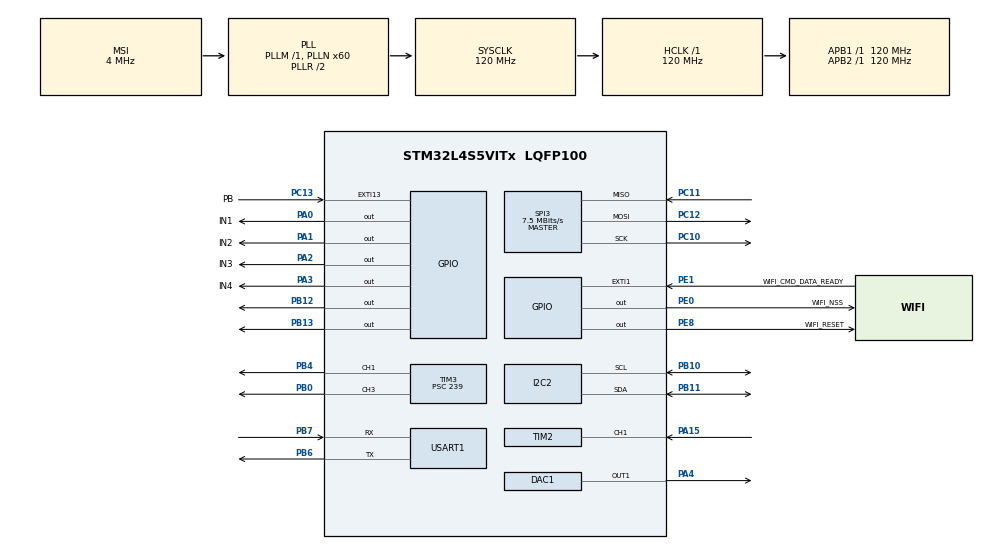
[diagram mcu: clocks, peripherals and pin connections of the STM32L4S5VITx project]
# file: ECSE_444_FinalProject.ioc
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DAC1.DAC_Trigger-DAC_OUT1=DAC_TRIGGER_T4_TRGO
Dma.DAC1_CH1.0.Direction=DMA_MEMORY_TO_PERIPH
Dma.DAC1_CH1.0.EventEnable=DISABLE
Dma.DAC1_CH1.0.Instance=DMA1_Channel1
Dma.DAC1_CH1.0.MemDataAlignment=DMA_MDATAALIGN_HALFWORD
Dma.DAC1_CH1.0.MemInc=DMA_MINC_ENABLE
Dma.DAC1_CH1.0.Mode=DMA_CIRCULAR
Dma.DAC1_CH1.0.PeriphDataAlignment=DMA_PDATAALIGN_HALFWORD
Dma.DAC1_CH1.0.PeriphInc=DMA_PINC_DISABLE
Dma.DAC1_CH1.0.Polarity=HAL_DMAMUX_REQUEST_GEN_RISING
Dma.DAC1_CH1.0.Priority=DMA_PRIORITY_LOW
Dma.DAC1_CH1.0.RequestNumber=1
Dma.DAC1_CH1.0.SignalID=NONE
Dma.DAC1_CH1.0.SyncEnable=DISABLE
Dma.DAC1_CH1.0.SyncPolarity=HAL_DMAMUX_SYNC_NO_EVENT
Dma.DAC1_CH1.0.SyncRequestNumber=1
Dma.DAC1_CH1.0.SyncSignalID=NONE
Dma.Request0=DAC1_CH1
FREERTOS.BinarySemaphores01=alarmSemaphore,Dynamic,NULL,Available
FREERTOS.Mutexes01=logFlashMutex,Dynamic,NULL,Available
FREERTOS.Queues01=tempQueue,16,uint16_t,0,Dynamic,NULL,NULL;scanDataQueue,16,ScanPoint,0,Dynamic,NULL,NULL
FREERTOS.Tasks01=defaultTask,-2,128,StartDefaultTask,Default,NULL,Dynamic,NULL,NULL;tempTask,0,128,StartTempTask,Default,NULL,Dynamic,NULL,NULL;scanTask,0,128,StartScanTask,Default,NULL,Dynamic,NULL,NULL;transmitTask,0,128,StartTransmitTask,Default,NULL,Dynamic,NULL,NULL;alarmTask,0,128,StartAlarmTask,Default,NULL,Dynamic,NULL,NULL
FREERTOS.configENABLE_FPU=1
FREERTOS.configTOTAL_HEAP_SIZE=4352
FREERTOS.configUSE_NEWLIB_REENTRANT=1
I2C2.Timing=0x30A175AB
Mcu.Family=STM32L4
Mcu.Name=STM32L4S5VITx
Mcu.Package=LQFP100
NVIC.DMA1_Channel1_IRQn=true\:5\:0\:false\:false\:true\:true\:false\:true\:true
NVIC.EXTI15_10_IRQn=true\:5\:0\:false\:false\:true\:true\:true\:true\:true
NVIC.EXTI1_IRQn=true\:5\:0\:false\:false\:true\:true\:true\:true\:true
NVIC.PriorityGroup=NVIC_PRIORITYGROUP_4
NVIC.TIM2_IRQn=true\:5\:0\:false\:false\:true\:true\:true\:true\:true
NVIC.TIM4_IRQn=true\:5\:0\:false\:false\:true\:true\:true\:true\:true
NVIC.TIM6_DAC_IRQn=true\:15\:0\:false\:false\:true\:false\:false\:true\:true
NVIC.TimeBase=TIM6_DAC_IRQn
NVIC.TimeBaseIP=TIM6
PA0.GPIO_Label=IN1
PA0.Signal=GPIO_Output
PA1.GPIO_Label=IN2
PA1.Signal=GPIO_Output
PA15\ (JTDI).Signal=S_TIM2_CH1
PA2.GPIO_Label=IN3
PA2.Signal=GPIO_Output
PA3.GPIO_Label=IN4
PA3.Signal=GPIO_Output
PA4.Signal=COMP_DAC11_group
PB0.Signal=S_TIM3_CH3
PB10.Mode=I2C
PB10.Signal=I2C2_SCL
PB11.Mode=I2C
PB11.Signal=I2C2_SDA
PB12.Signal=GPIO_Output
PB13.Signal=GPIO_Output
PB3\ (JTDO/TRACESWO).Signal=SYS_JTDO-SWO
PB4\ (NJTRST).Signal=S_TIM3_CH1
PB6.Mode=Asynchronous
PB6.Signal=USART1_TX
PB7.Mode=Asynchronous
PB7.Signal=USART1_RX
PC10.Mode=Full_Duplex_Master
PC10.Signal=SPI3_SCK
PC11.Mode=Full_Duplex_Master
PC11.Signal=SPI3_MISO
PC12.Mode=Full_Duplex_Master
PC12.Signal=SPI3_MOSI
PC13.GPIO_Label=PB
PC13.Signal=GPXTI13
PE0.GPIO_Label=WIFI_NSS
PE0.Signal=GPIO_Output
PE1.GPIO_Label=WIFI_CMD_DATA_READY
PE1.Signal=GPXTI1
PE10.Signal=OCTOSPIM_P1_CLK
PE11.Signal=OCTOSPIM_P1_NCS
PE12.Signal=OCTOSPIM_P1_IO0
PE13.Signal=OCTOSPIM_P1_IO1
PE14.Signal=OCTOSPIM_P1_IO2
PE15.Signal=OCTOSPIM_P1_IO3
PE8.GPIO_Label=WIFI_RESET
PE8.Signal=GPIO_Output
ProjectManager.HeapSize=0x200
ProjectManager.StackSize=0x400
ProjectManager.TargetToolchain=STM32CubeIDE
RCC.ADCFreq_Value=48000000
RCC.AHBFreq_Value=120000000
RCC.APB1Freq_Value=120000000
RCC.APB1TimFreq_Value=120000000
RCC.APB2Freq_Value=120000000
RCC.APB2TimFreq_Value=120000000
RCC.CortexFreq_Value=120000000
RCC.HCLKFreq_Value=120000000
RCC.HSE_VALUE=8000000
RCC.HSI48_VALUE=48000000
RCC.HSI_VALUE=16000000
RCC.LSE_VALUE=32768
RCC.MSI_VALUE=4000000
RCC.PLLN=60
RCC.PLLSAI1N=24
RCC.SYSCLKFreq_VALUE=120000000
RCC.SYSCLKSource=RCC_SYSCLKSOURCE_PLLCLK
RCC.USBFreq_Value=48000000
RCC.VCOOutputFreq_Value=240000000
SH.COMP_DAC11_group.0=DAC1_OUT1,DAC_OUT1
SH.S_TIM2_CH1.0=TIM2_CH1,TriggerSource_TI1FP1
SH.S_TIM2_CH1.1=TIM2_CH1,Input_Capture1_from_TI1
SH.S_TIM3_CH1.0=TIM3_CH1,PWM Generation1 CH1
SH.S_TIM3_CH3.0=TIM3_CH3,PWM Generation3 CH3
SPI3.BaudRatePrescaler=SPI_BAUDRATEPRESCALER_16
SPI3.CalculateBaudRate=7.5 MBits/s
SPI3.DataSize=SPI_DATASIZE_16BIT
SPI3.Direction=SPI_DIRECTION_2LINES
SPI3.Mode=SPI_MODE_MASTER
SPI3.VirtualType=VM_MASTER
TIM2.Channel-Input_Capture1_from_TI1=TIM_CHANNEL_1
TIM2.Channel-Input_Capture2_from_TI1_63=TIM_CHANNEL_2
TIM2.ICPolarity_CH1=TIM_INPUTCHANNELPOLARITY_RISING
TIM2.ICPolarity_CH2=TIM_INPUTCHANNELPOLARITY_FALLING
TIM2.Prescaler=119
TIM2.TIM_MasterSlaveMode=TIM_MASTERSLAVEMODE_DISABLE
TIM3.AutoReloadPreload=TIM_AUTORELOAD_PRELOAD_ENABLE
TIM3.Channel-PWM\ Generation1\ CH1=TIM_CHANNEL_1
TIM3.Channel-PWM\ Generation3\ CH3=TIM_CHANNEL_3
TIM3.Period=49999
TIM3.Prescaler=239
TIM3.Pulse-PWM\ Generation1\ CH1=10
TIM3.Pulse-PWM\ Generation3\ CH3=10
TIM4.Period=6000
TIM4.TIM_MasterOutputTrigger=TIM_TRGO_UPDATE
USART1.VirtualMode-Asynchronous=VM_ASYNC
VP_FREERTOS_VS_CMSIS_V1.Mode=CMSIS_V1
VP_OCTOSPI1_VS_quad.Mode=quad_mode
VP_SYS_VS_tim6.Mode=TIM6
VP_TIM2_VS_ClockSourceINT.Mode=Internal
VP_TIM2_VS_ControllerModeReset.Mode=Reset Mode
VP_TIM2_VS_indirect_ch1.Mode=Input_Capture2_from_TI1_63
VP_TIM3_VS_ClockSourceINT.Mode=Internal
VP_TIM4_VS_ClockSourceINT.Mode=Internal
board=B-L4S5I-IOT01A

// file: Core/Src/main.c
/* USER CODE BEGIN Header */
/**
  ******************************************************************************
  * @file           : main.c
  * @brief          : Main program body
  ******************************************************************************
  * @attention
  *
  * Copyright (c) 2025 STMicroelectronics.
  * All rights reserved.
  *
  * This software is licensed under terms that can be found in the LICENSE file
  * in the root directory of this software component.
  * If no LICENSE file comes with this software, it is provided AS-IS.
  *
  ******************************************************************************
  */
/* USER CODE END Header */
#include "main.h"
#include "cmsis_os.h"

/* USER CODE BEGIN Includes */
#define ARM_MATH_CM4
#include "arm_math.h"

#include <stdio.h>
#include <string.h>
#include <stdlib.h>

#include "motor.h"

#include "stm32l4s5i_iot01_qspi.h"
#include "stm32l4s5i_iot01_tsensor.h"

#include "wifi.h"

/* USER CODE END Includes */

/* USER CODE BEGIN PTD */
typedef struct {
    uint16_t angle;
    uint16_t distance;
    uint8_t intruder_detected;
} ScanPoint;

typedef struct {
	uint16_t angle;
	uint16_t distance;
	uint32_t timestamp;
} logSample;

/* USER CODE END PTD */

/* USER CODE BEGIN PD */
#define SINEWAVE_LENGTH 19

#define FLASH_BLOCK_LIMIT 0x10000
#define FLASH_BLOCK_INDEX_LIMIT 128 // 128 64kB blocks in 64 Mb of flash
#define FLASH_START_ADDRESS 0x00

enum {
    SWEEP_DEGREE = 120,                         // Total sweep in degrees
    STEP_DEGREE  = 2,                           // Degrees per step
    STEPS        = SWEEP_DEGREE / STEP_DEGREE   // Number of points in a sweep
};

//#define QUEUE_SET_SIZE 32
/* USER CODE END PD */

DAC_HandleTypeDef hdac1;
DMA_HandleTypeDef hdma_dac1_ch1;

I2C_HandleTypeDef hi2c2;

OSPI_HandleTypeDef hospi1;

SPI_HandleTypeDef hspi3;

TIM_HandleTypeDef htim2;
TIM_HandleTypeDef htim3;
TIM_HandleTypeDef htim4;

UART_HandleTypeDef huart1;

osThreadId defaultTaskHandle;
osThreadId tempTaskHandle;
osThreadId scanTaskHandle;
osThreadId transmitTaskHandle;
osThreadId alarmTaskHandle;
osMessageQId tempQueueHandle;
osMessageQId scanDataQueueHandle;
osMutexId logFlashMutexHandle;
osSemaphoreId alarmSemaphoreHandle;
/* USER CODE BEGIN PV */
volatile uint8_t start = 0;

// temp sensing variables
const float32_t TEMP_THRESHOLD = 40;
const uint32_t TEMP_READ_PERIOD = 3000; // milliseconds

// US sensor scanning variables
const uint32_t DIST_THRESHOLD = 10; // centimeters
const uint32_t WINDOW_SIZE = 3;
const uint16_t MAX_DISTANCE = 50;
ScanPoint baselineData[STEPS];
volatile uint8_t measuring = 0;
volatile uint32_t micro_sec;

// alarm variables
static uint8_t alarmTriggered = 0;
uint16_t sinewave[SINEWAVE_LENGTH];
uint16_t  sin_Value = 0;

// Queue variables
//QueueSetHandle_t xQueueSet;

// Flash variables
uint32_t numLogSample = 0;
uint32_t curr_flash_address = FLASH_START_ADDRESS;
uint32_t last_read_flash_address = FLASH_START_ADDRESS;
#define BUFFER_SIZE 16
logSample buffer[BUFFER_SIZE];
const uint32_t max_flash_size = FLASH_BLOCK_LIMIT * FLASH_BLOCK_INDEX_LIMIT;

// text buffer for printing
char output[64];

// WIFI variables
uint32_t lastWifiTick = 0;
WIFI_HandleTypeDef hwifi;
char ssid[] = "TestLan"; //"TestLan"; //VIRGIN184";
char passphrase[] = "12345678";//"12345678"; //"25235A211337";
char remoteIpAddress[] = "192.168.1.100";//"192.168.1.100"; //"192.168.2.12"; //"192.168.1.102";
uint8_t WIFI_connection = 1;

const uint32_t TIMEOUT = 5000;
/* USER CODE END PV */

void SystemClock_Config(void);
static void MX_GPIO_Init(void);
static void MX_DMA_Init(void);
static void MX_TIM3_Init(void);
static void MX_USART1_UART_Init(void);
static void MX_TIM2_Init(void);
static void MX_I2C2_Init(void);
static void MX_OCTOSPI1_Init(void);
static void MX_SPI3_Init(void);
static void MX_DAC1_Init(void);
static void MX_TIM4_Init(void);
void StartDefaultTask(void const * argument);
void StartTempTask(void const * argument);
void StartScanTask(void const * argument);
void StartTransmitTask(void const * argument);
void StartAlarmTask(void const * argument);

/* USER CODE BEGIN 0 */
void LUT_sine_builder() {
	for (int i = 0; i < 19; i ++) { //note C4
		sinewave[i] = (uint16_t) ( (arm_sin_f32( (float)sin_Value / 76.0f * 2.0f * PI ) + 1.0f) * 2000.0f );
	    sin_Value += 4;
	}
}

uint16_t getDistance(uint32_t time) {
  float speed_of_sound = 0.0343f; // in centimeters per microsecond
  uint16_t distance = ((float)time * speed_of_sound) / 2.0f + 0.5f; // divide by 2 due to round trip, +0.5f to round to nearest int
  return distance;
}

uint16_t take_samples() {
  uint32_t sum = 0;
  for (uint32_t i = 0; i < WINDOW_SIZE; i++) {
    measuring = 1;
    uint32_t start_time = HAL_GetTick();
    while (measuring && HAL_GetTick() - start_time < TIMEOUT) {
      taskYIELD();  // let other tasks run
    }
    uint16_t x_cm = getDistance(micro_sec);
    sum += x_cm;
  }
  uint16_t avg = (float)sum / (float)WINDOW_SIZE + 0.5f;
  return avg;
}

uint16_t take_samples_calibration() {
  uint32_t sum = 0;
  for (uint32_t i = 0; i < WINDOW_SIZE; i++) {
    measuring = 1;
    uint32_t start_time = HAL_GetTick();
    while (measuring && HAL_GetTick() - start_time < TIMEOUT) {
    }
    uint16_t x_cm = getDistance(micro_sec);
    sum += x_cm;
  }
  uint16_t avg = (float)sum / (float)WINDOW_SIZE + 0.5f;
  return avg;
}

static void WIFI_Init_main(){
  hwifi.handle = &hspi3;
  hwifi.ssid = ssid;
  hwifi.passphrase = passphrase;
  hwifi.securityType = WPA_MIXED;
  hwifi.DHCP = SET;
  hwifi.ipStatus = IP_V4;
  hwifi.transportProtocol = WIFI_TCP_PROTOCOL;
  hwifi.port = 8080;
  snprintf(hwifi.remoteIpAddress, sizeof(hwifi.remoteIpAddress), "%s", remoteIpAddress);
  hwifi.remotePort = 8080;

  WIFI_Init(&hwifi);
}

/* USER CODE END 0 */

int main(void)
{

  /* MCU Configuration--------------------------------------------------------*/

  /* Reset of all peripherals, Initializes the Flash interface and the Systick. */
  HAL_Init();

  /* Configure the system clock */
  SystemClock_Config();

  /* Initialize all configured peripherals */
  MX_GPIO_Init();
  MX_DMA_Init();
  MX_TIM3_Init();
  MX_USART1_UART_Init();
  MX_TIM2_Init();
  MX_I2C2_Init();
  MX_OCTOSPI1_Init();
  MX_SPI3_Init();
  MX_DAC1_Init();
  MX_TIM4_Init();
  /* USER CODE BEGIN 2 */

  HAL_TIM_IC_Start(&htim2, TIM_CHANNEL_1);
  HAL_TIM_IC_Start_IT(&htim2, TIM_CHANNEL_2);
  HAL_TIM_PWM_Start(&htim3, TIM_CHANNEL_3);
  HAL_TIM_Base_Start(&htim4);

  BSP_TSENSOR_Init();
  BSP_QSPI_Init();

  sprintf(output, "Initializing\r\n");
  HAL_UART_Transmit(&huart1, (uint8_t*) output, strlen(output), HAL_MAX_DELAY);

  // WiFi
  WIFI_Init_main();
  if (WIFI_JoinNetwork(&hwifi) != WIFI_OK) {
    sprintf(output, "Wi-Fi connection FAILED!\r\n");
    HAL_UART_Transmit(&huart1, (uint8_t*) output, strlen(output), HAL_MAX_DELAY);
    WIFI_connection = 0;
  }
  sprintf(output, "Wi-Fi connected successfully!\r\n");
  HAL_UART_Transmit(&huart1, (uint8_t*) output, strlen(output), HAL_MAX_DELAY);

  sprintf(output, "IP: %s\r\n", hwifi.ipAddress);
  HAL_UART_Transmit(&huart1, (uint8_t*)output, strlen(output), HAL_MAX_DELAY);

  if (WIFI_connection && WIFI_SetupSocket(&hwifi) != WIFI_OK) {
    sprintf(output, "Wi-Fi socket FAILED!\r\n");
    HAL_UART_Transmit(&huart1, (uint8_t*) output, strlen(output), HAL_MAX_DELAY);
    WIFI_connection = 0;
  }

  // TESTING
//  WIFI_connection = 0;

  // speaker sound array initialization
  LUT_sine_builder();

  while (!start); // wait for button press

  // gather baseline room data
  for (int i = 0; i < STEPS; i++) {
      HAL_Delay(10);
      baselineData[i].distance = take_samples_calibration();
      baselineData[i].angle = STEP_DEGREE * i;
      baselineData[i].intruder_detected = 0;

      if (WIFI_connection) {
        snprintf(output, sizeof(output), "B %d %d\n", (int)baselineData[i].angle, (int)baselineData[i].distance);
        WIFI_SendTCPData(&hwifi, output);
      }
      stepDeg(STEP_DEGREE);
  }
  stepDeg(-SWEEP_DEGREE); // return to starting point
  HAL_Delay(10);
  /* USER CODE END 2 */

  /* Create the mutex(es) */
  /* definition and creation of logFlashMutex */
  osMutexDef(logFlashMutex);
  logFlashMutexHandle = osMutexCreate(osMutex(logFlashMutex));

  /* Create the semaphores(s) */
  /* definition and creation of alarmSemaphore */
  osSemaphoreDef(alarmSemaphore);
  alarmSemaphoreHandle = osSemaphoreCreate(osSemaphore(alarmSemaphore), 1);

  /* Create the queue(s) */
  /* definition and creation of tempQueue */
  osMessageQDef(tempQueue, 16, uint16_t);
  tempQueueHandle = osMessageCreate(osMessageQ(tempQueue), NULL);

  /* definition and creation of scanDataQueue */
  osMessageQDef(scanDataQueue, 16, ScanPoint);
  scanDataQueueHandle = osMessageCreate(osMessageQ(scanDataQueue), NULL);

  /* Create the thread(s) */
  /* definition and creation of defaultTask */
  osThreadDef(defaultTask, StartDefaultTask, osPriorityLow, 0, 128);
  defaultTaskHandle = osThreadCreate(osThread(defaultTask), NULL);

  /* definition and creation of tempTask */
  osThreadDef(tempTask, StartTempTask, osPriorityNormal, 0, 128);
  tempTaskHandle = osThreadCreate(osThread(tempTask), NULL);

  /* definition and creation of scanTask */
  osThreadDef(scanTask, StartScanTask, osPriorityNormal, 0, 128);
  scanTaskHandle = osThreadCreate(osThread(scanTask), NULL);

  /* definition and creation of transmitTask */
  osThreadDef(transmitTask, StartTransmitTask, osPriorityNormal, 0, 128);
  transmitTaskHandle = osThreadCreate(osThread(transmitTask), NULL);

  /* definition and creation of alarmTask */
  osThreadDef(alarmTask, StartAlarmTask, osPriorityNormal, 0, 128);
  alarmTaskHandle = osThreadCreate(osThread(alarmTask), NULL);

  /* Start scheduler */
  osKernelStart();

  /* We should never get here as control is now taken by the scheduler */

  /* Infinite loop */
  while (1)
  {

  }
}

void SystemClock_Config(void)
{
  RCC_OscInitTypeDef RCC_OscInitStruct = {0};
  RCC_ClkInitTypeDef RCC_ClkInitStruct = {0};

  /** Configure the main internal regulator output voltage
  */
  if (HAL_PWREx_ControlVoltageScaling(PWR_REGULATOR_VOLTAGE_SCALE1_BOOST) != HAL_OK)
  {
    Error_Handler();
  }

  /** Initializes the RCC Oscillators according to the specified parameters
  * in the RCC_OscInitTypeDef structure.
  */
  RCC_OscInitStruct.OscillatorType = RCC_OSCILLATORTYPE_MSI;
  RCC_OscInitStruct.MSIState = RCC_MSI_ON;
  RCC_OscInitStruct.MSICalibrationValue = 0;
  RCC_OscInitStruct.MSIClockRange = RCC_MSIRANGE_6;
  RCC_OscInitStruct.PLL.PLLState = RCC_PLL_ON;
  RCC_OscInitStruct.PLL.PLLSource = RCC_PLLSOURCE_MSI;
  RCC_OscInitStruct.PLL.PLLM = 1;
  RCC_OscInitStruct.PLL.PLLN = 60;
  RCC_OscInitStruct.PLL.PLLP = RCC_PLLP_DIV2;
  RCC_OscInitStruct.PLL.PLLQ = RCC_PLLQ_DIV2;
  RCC_OscInitStruct.PLL.PLLR = RCC_PLLR_DIV2;
  if (HAL_RCC_OscConfig(&RCC_OscInitStruct) != HAL_OK)
  {
    Error_Handler();
  }

  /** Initializes the CPU, AHB and APB buses clocks
  */
  RCC_ClkInitStruct.ClockType = RCC_CLOCKTYPE_HCLK|RCC_CLOCKTYPE_SYSCLK
                              |RCC_CLOCKTYPE_PCLK1|RCC_CLOCKTYPE_PCLK2;
  RCC_ClkInitStruct.SYSCLKSource = RCC_SYSCLKSOURCE_PLLCLK;
  RCC_ClkInitStruct.AHBCLKDivider = RCC_SYSCLK_DIV1;
  RCC_ClkInitStruct.APB1CLKDivider = RCC_HCLK_DIV1;
  RCC_ClkInitStruct.APB2CLKDivider = RCC_HCLK_DIV1;

  if (HAL_RCC_ClockConfig(&RCC_ClkInitStruct, FLASH_LATENCY_5) != HAL_OK)
  {
    Error_Handler();
  }
}

static void MX_DAC1_Init(void)
{

  DAC_ChannelConfTypeDef sConfig = {0};

  /** DAC Initialization
  */
  hdac1.Instance = DAC1;
  if (HAL_DAC_Init(&hdac1) != HAL_OK)
  {
    Error_Handler();
  }

  /** DAC channel OUT1 config
  */
  sConfig.DAC_SampleAndHold = DAC_SAMPLEANDHOLD_DISABLE;
  sConfig.DAC_Trigger = DAC_TRIGGER_T4_TRGO;
  sConfig.DAC_HighFrequency = DAC_HIGH_FREQUENCY_INTERFACE_MODE_ABOVE_80MHZ;
  sConfig.DAC_OutputBuffer = DAC_OUTPUTBUFFER_ENABLE;
  sConfig.DAC_ConnectOnChipPeripheral = DAC_CHIPCONNECT_DISABLE;
  sConfig.DAC_UserTrimming = DAC_TRIMMING_FACTORY;
  if (HAL_DAC_ConfigChannel(&hdac1, &sConfig, DAC_CHANNEL_1) != HAL_OK)
  {
    Error_Handler();
  }

}

static void MX_I2C2_Init(void)
{

  hi2c2.Instance = I2C2;
  hi2c2.Init.Timing = 0x30A175AB;
  hi2c2.Init.OwnAddress1 = 0;
  hi2c2.Init.AddressingMode = I2C_ADDRESSINGMODE_7BIT;
  hi2c2.Init.DualAddressMode = I2C_DUALADDRESS_DISABLE;
  hi2c2.Init.OwnAddress2 = 0;
  hi2c2.Init.OwnAddress2Masks = I2C_OA2_NOMASK;
  hi2c2.Init.GeneralCallMode = I2C_GENERALCALL_DISABLE;
  hi2c2.Init.NoStretchMode = I2C_NOSTRETCH_DISABLE;
  if (HAL_I2C_Init(&hi2c2) != HAL_OK)
  {
    Error_Handler();
  }

  /** Configure Analogue filter
  */
  if (HAL_I2CEx_ConfigAnalogFilter(&hi2c2, I2C_ANALOGFILTER_ENABLE) != HAL_OK)
  {
    Error_Handler();
  }

  /** Configure Digital filter
  */
  if (HAL_I2CEx_ConfigDigitalFilter(&hi2c2, 0) != HAL_OK)
  {
    Error_Handler();
  }

}

static void MX_OCTOSPI1_Init(void)
{

  /* OCTOSPI1 parameter configuration*/
  hospi1.Instance = OCTOSPI1;
  hospi1.Init.FifoThreshold = 1;
  hospi1.Init.DualQuad = HAL_OSPI_DUALQUAD_DISABLE;
  hospi1.Init.MemoryType = HAL_OSPI_MEMTYPE_MICRON;
  hospi1.Init.DeviceSize = 32;
  hospi1.Init.ChipSelectHighTime = 1;
  hospi1.Init.FreeRunningClock = HAL_OSPI_FREERUNCLK_DISABLE;
  hospi1.Init.ClockMode = HAL_OSPI_CLOCK_MODE_0;
  hospi1.Init.ClockPrescaler = 1;
  hospi1.Init.SampleShifting = HAL_OSPI_SAMPLE_SHIFTING_NONE;
  hospi1.Init.DelayHoldQuarterCycle = HAL_OSPI_DHQC_DISABLE;
  hospi1.Init.ChipSelectBoundary = 0;
  hospi1.Init.DelayBlockBypass = HAL_OSPI_DELAY_BLOCK_BYPASSED;
  if (HAL_OSPI_Init(&hospi1) != HAL_OK)
  {
    Error_Handler();
  }

}

static void MX_SPI3_Init(void)
{

  /* SPI3 parameter configuration*/
  hspi3.Instance = SPI3;
  hspi3.Init.Mode = SPI_MODE_MASTER;
  hspi3.Init.Direction = SPI_DIRECTION_2LINES;
  hspi3.Init.DataSize = SPI_DATASIZE_16BIT;
  hspi3.Init.CLKPolarity = SPI_POLARITY_LOW;
  hspi3.Init.CLKPhase = SPI_PHASE_1EDGE;
  hspi3.Init.NSS = SPI_NSS_SOFT;
  hspi3.Init.BaudRatePrescaler = SPI_BAUDRATEPRESCALER_16;
  hspi3.Init.FirstBit = SPI_FIRSTBIT_MSB;
  hspi3.Init.TIMode = SPI_TIMODE_DISABLE;
  hspi3.Init.CRCCalculation = SPI_CRCCALCULATION_DISABLE;
  hspi3.Init.CRCPolynomial = 7;
  hspi3.Init.CRCLength = SPI_CRC_LENGTH_DATASIZE;
  hspi3.Init.NSSPMode = SPI_NSS_PULSE_ENABLE;
  if (HAL_SPI_Init(&hspi3) != HAL_OK)
  {
    Error_Handler();
  }

}

static void MX_TIM2_Init(void)
{

  TIM_ClockConfigTypeDef sClockSourceConfig = {0};
  TIM_SlaveConfigTypeDef sSlaveConfig = {0};
  TIM_MasterConfigTypeDef sMasterConfig = {0};
  TIM_IC_InitTypeDef sConfigIC = {0};

  htim2.Instance = TIM2;
  htim2.Init.Prescaler = 119;
  htim2.Init.CounterMode = TIM_COUNTERMODE_UP;
  htim2.Init.Period = 4294967295;
  htim2.Init.ClockDivision = TIM_CLOCKDIVISION_DIV1;
  htim2.Init.AutoReloadPreload = TIM_AUTORELOAD_PRELOAD_DISABLE;
  if (HAL_TIM_Base_Init(&htim2) != HAL_OK)
  {
    Error_Handler();
  }
  sClockSourceConfig.ClockSource = TIM_CLOCKSOURCE_INTERNAL;
  if (HAL_TIM_ConfigClockSource(&htim2, &sClockSourceConfig) != HAL_OK)
  {
    Error_Handler();
  }
  if (HAL_TIM_IC_Init(&htim2) != HAL_OK)
  {
    Error_Handler();
  }
  sSlaveConfig.SlaveMode = TIM_SLAVEMODE_RESET;
  sSlaveConfig.InputTrigger = TIM_TS_TI1FP1;
  sSlaveConfig.TriggerPolarity = TIM_INPUTCHANNELPOLARITY_RISING;
  sSlaveConfig.TriggerFilter = 0;
  if (HAL_TIM_SlaveConfigSynchro(&htim2, &sSlaveConfig) != HAL_OK)
  {
    Error_Handler();
  }
  sMasterConfig.MasterOutputTrigger = TIM_TRGO_RESET;
  sMasterConfig.MasterSlaveMode = TIM_MASTERSLAVEMODE_DISABLE;
  if (HAL_TIMEx_MasterConfigSynchronization(&htim2, &sMasterConfig) != HAL_OK)
  {
    Error_Handler();
  }
  sConfigIC.ICPolarity = TIM_INPUTCHANNELPOLARITY_RISING;
  sConfigIC.ICSelection = TIM_ICSELECTION_DIRECTTI;
  sConfigIC.ICPrescaler = TIM_ICPSC_DIV1;
  sConfigIC.ICFilter = 0;
  if (HAL_TIM_IC_ConfigChannel(&htim2, &sConfigIC, TIM_CHANNEL_1) != HAL_OK)
  {
    Error_Handler();
  }
  sConfigIC.ICPolarity = TIM_INPUTCHANNELPOLARITY_FALLING;
  sConfigIC.ICSelection = TIM_ICSELECTION_INDIRECTTI;
  if (HAL_TIM_IC_ConfigChannel(&htim2, &sConfigIC, TIM_CHANNEL_2) != HAL_OK)
  {
    Error_Handler();
  }

}

static void MX_TIM3_Init(void)
{

  TIM_ClockConfigTypeDef sClockSourceConfig = {0};
  TIM_MasterConfigTypeDef sMasterConfig = {0};
  TIM_OC_InitTypeDef sConfigOC = {0};

  htim3.Instance = TIM3;
  htim3.Init.Prescaler = 239;
  htim3.Init.CounterMode = TIM_COUNTERMODE_UP;
  htim3.Init.Period = 49999;
  htim3.Init.ClockDivision = TIM_CLOCKDIVISION_DIV1;
  htim3.Init.AutoReloadPreload = TIM_AUTORELOAD_PRELOAD_ENABLE;
  if (HAL_TIM_Base_Init(&htim3) != HAL_OK)
  {
    Error_Handler();
  }
  sClockSourceConfig.ClockSource = TIM_CLOCKSOURCE_INTERNAL;
  if (HAL_TIM_ConfigClockSource(&htim3, &sClockSourceConfig) != HAL_OK)
  {
    Error_Handler();
  }
  if (HAL_TIM_PWM_Init(&htim3) != HAL_OK)
  {
    Error_Handler();
  }
  sMasterConfig.MasterOutputTrigger = TIM_TRGO_RESET;
  sMasterConfig.MasterSlaveMode = TIM_MASTERSLAVEMODE_DISABLE;
  if (HAL_TIMEx_MasterConfigSynchronization(&htim3, &sMasterConfig) != HAL_OK)
  {
    Error_Handler();
  }
  sConfigOC.OCMode = TIM_OCMODE_PWM1;
  sConfigOC.Pulse = 10;
  sConfigOC.OCPolarity = TIM_OCPOLARITY_HIGH;
  sConfigOC.OCFastMode = TIM_OCFAST_DISABLE;
  if (HAL_TIM_PWM_ConfigChannel(&htim3, &sConfigOC, TIM_CHANNEL_1) != HAL_OK)
  {
    Error_Handler();
  }
  if (HAL_TIM_PWM_ConfigChannel(&htim3, &sConfigOC, TIM_CHANNEL_3) != HAL_OK)
  {
    Error_Handler();
  }
  HAL_TIM_MspPostInit(&htim3);

}

static void MX_TIM4_Init(void)
{

  TIM_ClockConfigTypeDef sClockSourceConfig = {0};
  TIM_MasterConfigTypeDef sMasterConfig = {0};

  htim4.Instance = TIM4;
  htim4.Init.Prescaler = 0;
  htim4.Init.CounterMode = TIM_COUNTERMODE_UP;
  htim4.Init.Period = 6000;
  htim4.Init.ClockDivision = TIM_CLOCKDIVISION_DIV1;
  htim4.Init.AutoReloadPreload = TIM_AUTORELOAD_PRELOAD_DISABLE;
  if (HAL_TIM_Base_Init(&htim4) != HAL_OK)
  {
    Error_Handler();
  }
  sClockSourceConfig.ClockSource = TIM_CLOCKSOURCE_INTERNAL;
  if (HAL_TIM_ConfigClockSource(&htim4, &sClockSourceConfig) != HAL_OK)
  {
    Error_Handler();
  }
  sMasterConfig.MasterOutputTrigger = TIM_TRGO_UPDATE;
  sMasterConfig.MasterSlaveMode = TIM_MASTERSLAVEMODE_DISABLE;
  if (HAL_TIMEx_MasterConfigSynchronization(&htim4, &sMasterConfig) != HAL_OK)
  {
    Error_Handler();
  }

}

static void MX_USART1_UART_Init(void)
{

  huart1.Instance = USART1;
  huart1.Init.BaudRate = 115200;
  huart1.Init.WordLength = UART_WORDLENGTH_8B;
  huart1.Init.StopBits = UART_STOPBITS_1;
  huart1.Init.Parity = UART_PARITY_NONE;
  huart1.Init.Mode = UART_MODE_TX_RX;
  huart1.Init.HwFlowCtl = UART_HWCONTROL_NONE;
  huart1.Init.OverSampling = UART_OVERSAMPLING_16;
  huart1.Init.OneBitSampling = UART_ONE_BIT_SAMPLE_DISABLE;
  huart1.Init.ClockPrescaler = UART_PRESCALER_DIV1;
  huart1.AdvancedInit.AdvFeatureInit = UART_ADVFEATURE_NO_INIT;
  if (HAL_UART_Init(&huart1) != HAL_OK)
  {
    Error_Handler();
  }
  if (HAL_UARTEx_SetTxFifoThreshold(&huart1, UART_TXFIFO_THRESHOLD_1_8) != HAL_OK)
  {
    Error_Handler();
  }
  if (HAL_UARTEx_SetRxFifoThreshold(&huart1, UART_RXFIFO_THRESHOLD_1_8) != HAL_OK)
  {
    Error_Handler();
  }
  if (HAL_UARTEx_DisableFifoMode(&huart1) != HAL_OK)
  {
    Error_Handler();
  }

}

static void MX_DMA_Init(void)
{

  /* DMA controller clock enable */
  __HAL_RCC_DMAMUX1_CLK_ENABLE();
  __HAL_RCC_DMA1_CLK_ENABLE();

  /* DMA interrupt init */
  /* DMA1_Channel1_IRQn interrupt configuration */
  HAL_NVIC_SetPriority(DMA1_Channel1_IRQn, 5, 0);
  HAL_NVIC_EnableIRQ(DMA1_Channel1_IRQn);

}

static void MX_GPIO_Init(void)
{
  GPIO_InitTypeDef GPIO_InitStruct = {0};

  /* GPIO Ports Clock Enable */
  __HAL_RCC_GPIOC_CLK_ENABLE();
  __HAL_RCC_GPIOA_CLK_ENABLE();
  __HAL_RCC_GPIOB_CLK_ENABLE();
  __HAL_RCC_GPIOE_CLK_ENABLE();

  /*Configure GPIO pin Output Level */
  HAL_GPIO_WritePin(GPIOA, IN1_Pin|IN2_Pin|IN3_Pin|IN4_Pin, GPIO_PIN_RESET);

  /*Configure GPIO pin Output Level */
  HAL_GPIO_WritePin(GPIOE, WIFI_RESET_Pin|WIFI_NSS_Pin, GPIO_PIN_RESET);

  /*Configure GPIO pin Output Level */
  HAL_GPIO_WritePin(GPIOB, GPIO_PIN_12|GPIO_PIN_13, GPIO_PIN_RESET);

  /*Configure GPIO pin : PB_Pin */
  GPIO_InitStruct.Pin = PB_Pin;
  GPIO_InitStruct.Mode = GPIO_MODE_IT_RISING;
  GPIO_InitStruct.Pull = GPIO_NOPULL;
  HAL_GPIO_Init(PB_GPIO_Port, &GPIO_InitStruct);

  /*Configure GPIO pins : IN1_Pin IN2_Pin IN3_Pin IN4_Pin */
  GPIO_InitStruct.Pin = IN1_Pin|IN2_Pin|IN3_Pin|IN4_Pin;
  GPIO_InitStruct.Mode = GPIO_MODE_OUTPUT_PP;
  GPIO_InitStruct.Pull = GPIO_NOPULL;
  GPIO_InitStruct.Speed = GPIO_SPEED_FREQ_LOW;
  HAL_GPIO_Init(GPIOA, &GPIO_InitStruct);

  /*Configure GPIO pins : WIFI_RESET_Pin WIFI_NSS_Pin */
  GPIO_InitStruct.Pin = WIFI_RESET_Pin|WIFI_NSS_Pin;
  GPIO_InitStruct.Mode = GPIO_MODE_OUTPUT_PP;
  GPIO_InitStruct.Pull = GPIO_NOPULL;
  GPIO_InitStruct.Speed = GPIO_SPEED_FREQ_LOW;
  HAL_GPIO_Init(GPIOE, &GPIO_InitStruct);

  /*Configure GPIO pins : PE10 PE11 PE12 PE13
                           PE14 PE15 */
  GPIO_InitStruct.Pin = GPIO_PIN_10|GPIO_PIN_11|GPIO_PIN_12|GPIO_PIN_13
                          |GPIO_PIN_14|GPIO_PIN_15;
  GPIO_InitStruct.Mode = GPIO_MODE_AF_PP;
  GPIO_InitStruct.Pull = GPIO_NOPULL;
  GPIO_InitStruct.Speed = GPIO_SPEED_FREQ_VERY_HIGH;
  GPIO_InitStruct.Alternate = GPIO_AF10_OCTOSPIM_P1;
  HAL_GPIO_Init(GPIOE, &GPIO_InitStruct);

  /*Configure GPIO pins : PB12 PB13 */
  GPIO_InitStruct.Pin = GPIO_PIN_12|GPIO_PIN_13;
  GPIO_InitStruct.Mode = GPIO_MODE_OUTPUT_PP;
  GPIO_InitStruct.Pull = GPIO_NOPULL;
  GPIO_InitStruct.Speed = GPIO_SPEED_FREQ_LOW;
  HAL_GPIO_Init(GPIOB, &GPIO_InitStruct);

  /*Configure GPIO pin : WIFI_CMD_DATA_READY_Pin */
  GPIO_InitStruct.Pin = WIFI_CMD_DATA_READY_Pin;
  GPIO_InitStruct.Mode = GPIO_MODE_IT_RISING;
  GPIO_InitStruct.Pull = GPIO_NOPULL;
  HAL_GPIO_Init(WIFI_CMD_DATA_READY_GPIO_Port, &GPIO_InitStruct);

  /* EXTI interrupt init*/
  HAL_NVIC_SetPriority(EXTI1_IRQn, 5, 0);
  HAL_NVIC_EnableIRQ(EXTI1_IRQn);

  HAL_NVIC_SetPriority(EXTI15_10_IRQn, 5, 0);
  HAL_NVIC_EnableIRQ(EXTI15_10_IRQn);

}

/* USER CODE BEGIN 4 */
void HAL_GPIO_EXTI_Callback(uint16_t GPIO_Pin) {
  if (GPIO_Pin == PB_Pin) {
    if (!start) {
      start = 1;
    }
    HAL_DAC_Stop_DMA(&hdac1, DAC_CHANNEL_1);
    alarmTriggered = 0;

    uint32_t head = curr_flash_address;
    uint32_t tail = last_read_flash_address;
    uint32_t numRead = 0;
    uint32_t sizeOfSample = sizeof(logSample);

    while (head != tail) {
    	if (head < tail) { // we circled back the flash
    		if (tail + BUFFER_SIZE*sizeof(logSample) >= max_flash_size) {// our buffer reached the end of flash
                numRead = (max_flash_size - tail)/sizeOfSample;
            } else { // we aren't at the flash limit yet
                numRead = BUFFER_SIZE;
            }
    	} else { // we didn't circle back
            if ((head - tail)/sizeOfSample < BUFFER_SIZE)// we don't have enough slots for a full buffer
            {
                numRead = (head - tail)/sizeOfSample;
            }
            else { // if we have enough slots for one full buffer
                numRead = BUFFER_SIZE;
            }
        }

        if (BSP_QSPI_Read((uint8_t*) buffer, tail, numRead*sizeOfSample) != QSPI_OK) {
            Error_Handler();
        }
        tail = (tail + numRead*sizeOfSample) % max_flash_size; // increment tail, circling back if needed

        for (int i = 0; i<numRead; i++) {
        	snprintf(output, sizeof(output), "Intruder(distance/angle): (%u. %u) timestamp:%lu \r\n", buffer[i].distance, buffer[i].angle, buffer[i].timestamp);
            HAL_UART_Transmit(&huart1, (uint8_t*)output, strlen(output), HAL_MAX_DELAY);
        }
    }
    last_read_flash_address = tail;
  }
}

void HAL_TIM_IC_CaptureCallback(TIM_HandleTypeDef *htim) {
  if ((htim->Instance == TIM2) && (htim->Channel == HAL_TIM_ACTIVE_CHANNEL_2)) {
    micro_sec = TIM2->CCR2;
    measuring = 0;
  }
}
/* USER CODE END 4 */

void StartDefaultTask(void const * argument)
{
  for(;;)
  {
    osDelay(1);
  }
}

void StartTempTask(void const * argument)
{
  /* USER CODE BEGIN StartTempTask */
  /* Infinite loop */
  for(;;)
  {
    osDelay(TEMP_READ_PERIOD);
    uint16_t temp = BSP_TSENSOR_ReadTemp();
    if (xQueueSend(tempQueueHandle, &temp, 0) != pdPASS) {
      // edge case if queue is full, trash oldest reading
      uint16_t oldest;
      xQueueReceive(tempQueueHandle, &oldest, 0);

      xQueueSend(tempQueueHandle, &temp, 0);
    }

    if (!alarmTriggered && temp > TEMP_THRESHOLD) {
      alarmTriggered = 1;
      xSemaphoreGive(alarmSemaphoreHandle);
    }
  }
  /* USER CODE END StartTempTask */
}

void StartScanTask(void const * argument)
{
  /* USER CODE BEGIN StartScanTask */
  int i = 0;
  int direction = 1;

  ScanPoint scanData;
  /* Infinite loop */
  for(;;)
  {
    osDelay(10); // allow motor to settle
    scanData.angle = i * STEP_DEGREE;
    scanData.distance = take_samples();
    scanData.intruder_detected = 0;

    if (abs(scanData.distance - baselineData[i].distance) > DIST_THRESHOLD && scanData.distance <= MAX_DISTANCE) {
      alarmTriggered = 1;
      xSemaphoreGive(alarmSemaphoreHandle);
      scanData.intruder_detected = 1;
    }

    if (xQueueSend(scanDataQueueHandle, &scanData, 0) != pdPASS) {
      // edge case if queue is full, trash oldest reading
      uint16_t oldest;
      xQueueReceive(scanDataQueueHandle, &oldest, 0);

      xQueueSend(scanDataQueueHandle, &scanData, 0);
    }

    stepDeg(direction * STEP_DEGREE);

    if (i == STEPS - 1) {
      direction = -1;
    } else if (i == 0) {
      direction = 1;
    }
    i += direction;
  }
  /* USER CODE END StartScanTask */
}

void StartTransmitTask(void const * argument)
{
  /* USER CODE BEGIN StartTransmitTask */
  uint16_t tempData;
  ScanPoint scanData;
  /* Infinite loop */
  for(;;)
  {
    osDelay(5);
    if (xQueueReceive(tempQueueHandle, &tempData, 0) == pdPASS) {
      sprintf(output, "TEMP: %u\r\n", tempData);
      HAL_UART_Transmit(&huart1, (uint8_t*)output, strlen(output), HAL_MAX_DELAY);

      if (WIFI_connection) {
      	snprintf(output, sizeof(output), "T %d\n", (int)tempData);
      	WIFI_SendTCPData(&hwifi, output);
      }
    }

    if (xQueueReceive(scanDataQueueHandle, &scanData, 0)== pdPASS) {
      sprintf(output, "angle: %u, distance: %u, I: %u\r\n", scanData.angle, scanData.distance, scanData.intruder_detected);
      HAL_UART_Transmit(&huart1, (uint8_t*)output, strlen(output), HAL_MAX_DELAY);
      if (WIFI_connection) {

        if (scanData.intruder_detected) {
          snprintf(output, sizeof(output), "I %d %d\n", (int)scanData.angle, (int)scanData.distance);
          WIFI_SendTCPData(&hwifi, output);

          logSample intruder_sample;
          intruder_sample.distance = scanData.distance;
          intruder_sample.angle = scanData.angle;
          intruder_sample.timestamp = HAL_GetTick();

          osMutexWait(logFlashMutexHandle, osWaitForever);

          if (curr_flash_address >= (FLASH_BLOCK_INDEX_LIMIT * FLASH_BLOCK_LIMIT)) // flash is full
          {
            curr_flash_address = FLASH_START_ADDRESS;
            numLogSample = 0;
          }

          if (curr_flash_address % FLASH_BLOCK_LIMIT == 0) // we are at the start of a block
          {
            if (BSP_QSPI_Erase_Block(curr_flash_address) != QSPI_OK)
            {
              osMutexRelease(logFlashMutexHandle);
              Error_Handler();
            }
          }
          if (BSP_QSPI_Write((uint8_t*)&intruder_sample, curr_flash_address, sizeof(intruder_sample)) != QSPI_OK)
          {
            osMutexRelease(logFlashMutexHandle);
            Error_Handler();
          }
          curr_flash_address += sizeof(intruder_sample);
          numLogSample++;

          osMutexRelease(logFlashMutexHandle);
        } else {
          snprintf(output, sizeof(output), "N %d\n", (int)scanData.angle);
          WIFI_SendTCPData(&hwifi, output);
        }
      }
    }
  }
  /* USER CODE END StartTransmitTask */
}

void StartAlarmTask(void const * argument)
{
  /* USER CODE BEGIN StartAlarmTask */
  /* Infinite loop */
  for(;;)
  {
    if(xSemaphoreTake(alarmSemaphoreHandle, portMAX_DELAY) == pdTRUE && alarmTriggered == 1){
      HAL_DAC_Start_DMA(&hdac1, DAC_CHANNEL_1, (uint32_t*)sinewave, SINEWAVE_LENGTH, DAC_ALIGN_12B_R);
    }
  }
  /* USER CODE END StartAlarmTask */
}

void HAL_TIM_PeriodElapsedCallback(TIM_HandleTypeDef *htim)
{
  if (htim->Instance == TIM6)
  {
    HAL_IncTick();
  }
  /* USER CODE BEGIN Callback 1 */
  if (htim->Instance == TIM2) {

  }
  /* USER CODE END Callback 1 */
}

void Error_Handler(void)
{
  __disable_irq();
  while (1)
  {
  }
}
